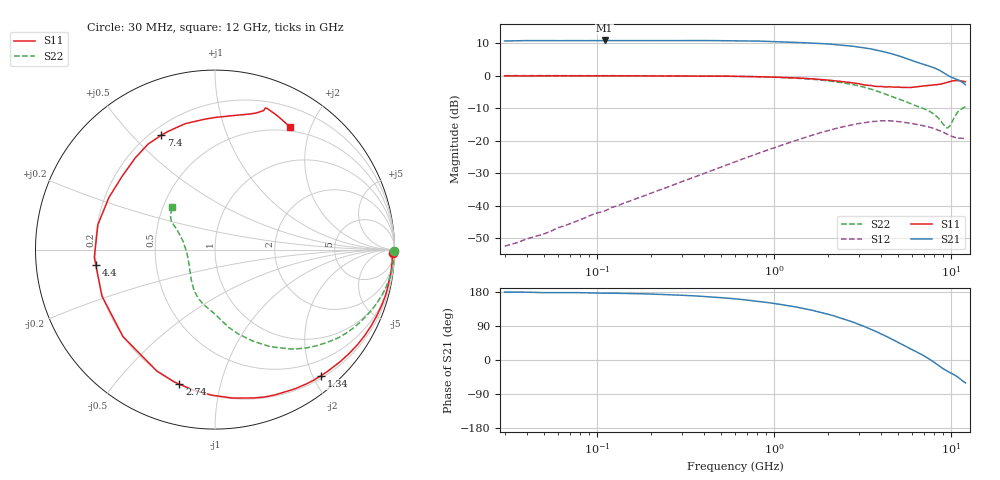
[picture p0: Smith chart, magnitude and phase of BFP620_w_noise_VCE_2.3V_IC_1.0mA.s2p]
! Infineon Technologies  Discrete & RF Semiconductors
! BFP620
! VCE =  2.3 V,  IC =  1.0 mA
! Common Emitter S-Parameters:  Nov 2015
# GHz  S  MA  R  50
!  f  S11  S21  S12  S22
! GHz  MAG  ANG  MAG  ANG  MAG  ANG  MAG  ANG
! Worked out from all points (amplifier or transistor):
!   239 points, 30 MHz to 12 GHz, reference 50 ohm
!   highest |S21| = 10.8 dB at 110 MHz (marker M1)
!   |S21| within 3 dB of that: start of sweep to 3.79 GHz
!   unconditionally stable (mu >= 1): 7.525 GHz to end of sweep
!   at 300 MHz: K = 0.02, MSG = 21.7 dB, |S12| = -32.6 dB
!   at 1.88 GHz: K = 0.23, MSG = 13.6 dB, |S12| = -17.3 dB
!   at 12 GHz: K = 1.93, MAG = 2.8 dB, |S12| = -19.4 dB
!   lowest NFmin = 0.71 dB at 450 MHz
!   S11 on the Smith chart (normalised r, x): 30 MHz: 45, -79; 1.34 GHz: 0.24, -2.12; 2.74 GHz: 0.20, -0.75; 4.4 GHz: 0.20, -0.06; 7.4 GHz: 0.24, +0.61; 12 GHz: 0.45, +1.70
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0.03  0.9892 -1.1  3.393 179.2  0.0024 81.7  0.9984 -0.6
0.085  0.9882 -3.1  3.434 177.4  0.0065 85.5  0.9984 -1.7
0.11  0.9894 -4.1  3.459 176.3  0.0083 86.6  0.9978 -2.3
0.24  0.9863 -8.8  3.448 172.7  0.0186 84.2  0.9948 -5.0
0.36  0.9844 -13.4  3.452 169.0  0.0281 82.0  0.9902 -7.4
0.6  0.9737 -22.3  3.423 161.4  0.0474 76.2  0.9764 -12.2
0.9  0.9544 -33.7  3.354 152.1  0.0707 68.5  0.9513 -17.9
1.34  0.9179 -50.0  3.219 139.5  0.1019 57.5  0.9086 -25.8
1.64  0.8902 -61.4  3.151 131.1  0.1215 50.4  0.8765 -31.0
2.1  0.8417 -79.2  3.027 118.4  0.1475 39.3  0.8177 -38.7
2.74  0.7756 -104.8  2.832 101.0  0.1752 24.9  0.731 -48.9
3  0.7502 -115.6  2.747 94.0  0.1838 19.4  0.6951 -52.8
3.5  0.7057 -136.6  2.571 81.2  0.1959 9.0  0.6223 -60.4
4.4  0.6694 -172.6  2.228 59.9  0.2015 -8.3  0.4991 -73.1
4.5  0.6737 -176.4  2.199 57.4  0.2019 -10.1  0.4871 -74.6
5  0.6671 168.0  2.026 46.5  0.197 -18.0  0.44 -80.0
5.5  0.6586 153.9  1.852 36.3  0.1906 -24.6  0.3992 -84.5
7.4  0.7043 115.1  1.411 4.3  0.1632 -44.2  0.289 -108.2
8.6  0.7362 90.0  1.2 -16.6  0.142 -53.6  0.2097 -129.4
9.4  0.7802 75.5  1.033 -28.5  0.1271 -57.4  0.1575 -163.0
11  0.8382 69.7  0.851 -46.8  0.1095 -55.8  0.2881 147.5
12  0.8007 58.4  0.722 -60.3  0.107 -55.4  0.3348 135.4
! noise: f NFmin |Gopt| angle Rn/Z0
0.45  0.71  0.84  7  0.43
0.9  0.78  0.75  17  0.4
1.9  0.93  0.58  46  0.34
2.4  1.03  0.51  65  0.32
3.5  1.09  0.34  87  0.23
5.5  1.99  0.35  174  0.18
10  3.07  0.71  -63  1.84
